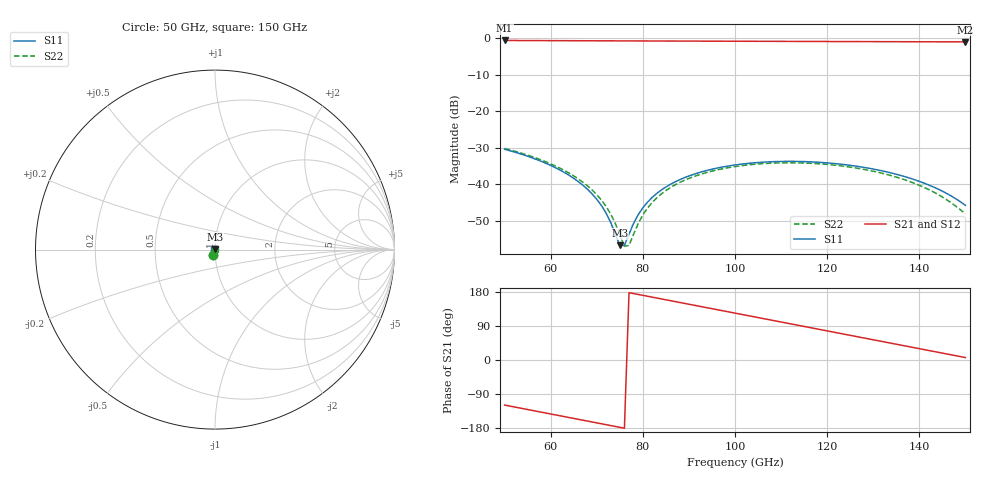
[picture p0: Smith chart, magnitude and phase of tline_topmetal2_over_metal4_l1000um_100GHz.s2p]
#  GHZ S DB R 50
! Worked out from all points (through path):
!   101 points, 50 GHz to 150 GHz, reference 50 ohm
!   highest |S21| = -0.68 dB at 50 GHz (marker M1); lowest = -1.1 dB at 150 GHz (marker M2)
!   group delay of S21, straight-line fit = 6.52 ps
!   lowest |S11| = -56.7 dB at 75 GHz (marker M3), VSWR 1.00, Z = 49.9 + j0.129 ohm
!   |S11| at or under -10 dB: start of sweep to end of sweep
!   |S22| runs from -56.9 to -30.2 dB; largest |S21 - S12| = 1e-13
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50  -30.44 -111.3  -0.68 -118.9  -0.68 -118.9  -30.22 -111.5
60  -34.85 -138.6  -0.73 -142.4  -0.73 -142.4  -34.42 -138.6
67  -40.28 -160.3  -0.76 -158.9  -0.76 -158.9  -39.45 -159.8
70  -44.10 -172.6  -0.78 -165.9  -0.78 -165.9  -42.85 -171.0
72  -47.85 175.2  -0.79 -170.6  -0.79 -170.6  -46.02 179.0
74  -53.52 149.4  -0.79 -175.3  -0.79 -175.3  -50.64 162.2
75  -56.69 118.3  -0.80 -177.6  -0.80 -177.6  -53.81 145.6
76  -56.68 73.3  -0.80 -180.0  -0.80 -180.0  -56.93 113.7
77  -53.63 43.0  -0.81 177.7  -0.81 177.7  -56.73 68.8
78  -50.67 27.2  -0.81 175.3  -0.81 175.3  -53.65 39.3
80  -46.44 10.9  -0.82 170.6  -0.82 170.6  -48.39 14.5
82  -43.63 1.0  -0.83 165.9  -0.83 165.9  -45.02 2.5
84  -41.58 -6.7  -0.84 161.2  -0.84 161.2  -42.67 -6.1
87  -39.35 -16.7  -0.85 154.2  -0.85 154.2  -40.17 -16.5
91  -37.29 -28.7  -0.86 144.8  -0.86 144.8  -37.92 -28.8
100  -34.73 -54.0  -0.90 123.7  -0.90 123.7  -35.17 -54.3
109  -33.80 -78.7  -0.93 102.6  -0.93 102.6  -34.18 -79.1
117  -33.91 -100.7  -0.96 83.8  -0.96 83.8  -34.31 -101.2
125  -34.83 -123.2  -0.98 65.1  -0.98 65.1  -35.32 -123.9
134  -36.94 -149.8  -1.02 44.0  -1.02 44.0  -37.68 -151.1
143  -40.71 -179.7  -1.05 22.9  -1.05 22.9  -42.06 176.4
150  -45.76 148.2  -1.07 6.5  -1.07 6.5  -48.09 133.5
